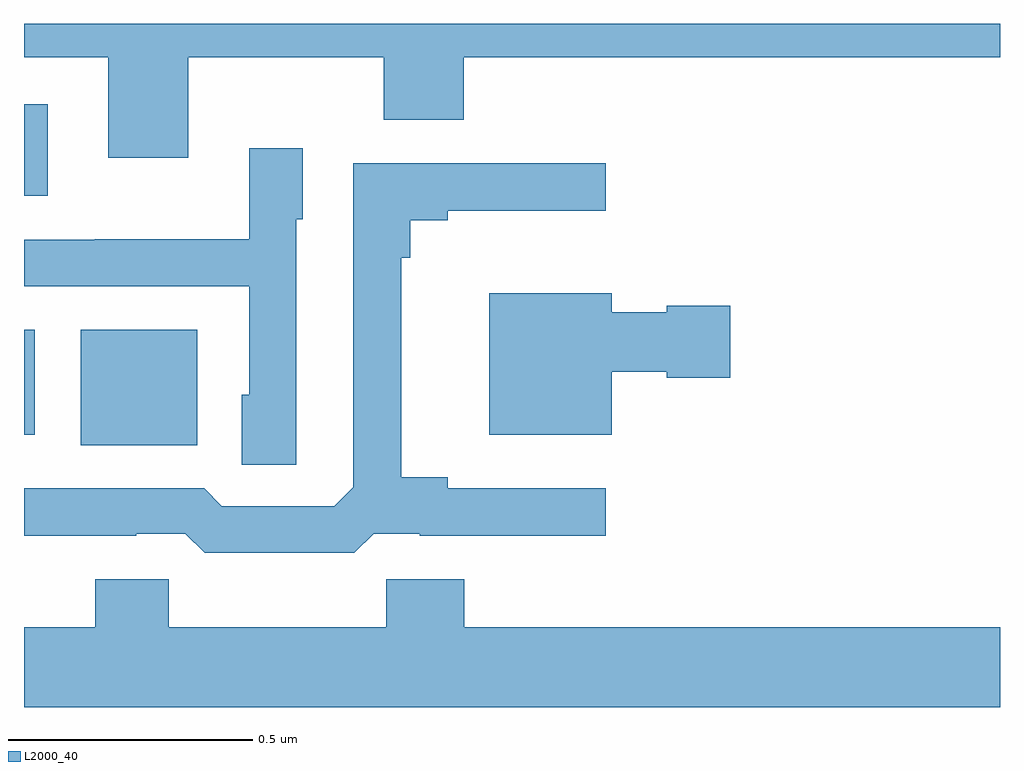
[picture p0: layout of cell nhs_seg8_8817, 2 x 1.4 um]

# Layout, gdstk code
import gdstk
lib = gdstk.Library(unit=1e-6, precision=1e-09)
def R(c, l, rs):  # rectangles x0, y0, x1, y1
    for r in rs: c.add(gdstk.rectangle(r[:2], r[2:], *l))
def P(c, l, *ps):  # polygons
    for p in ps: c.add(gdstk.Polygon(p, *l))
L2000_40 = (2000, 40)

nhs_seg8_8817 = lib.new_cell('nhs_seg8_8817')
R(nhs_seg8_8817, L2000_40, [(228.116,1117.037,228.355,1117.273), (228,1117.058,228.022,1117.273), (228,1117.548,228.049,1117.735)])
P(nhs_seg8_8817, L2000_40, [(228.337,1117.832),(228.737,1117.832),(228.737,1117.704),(228.901,1117.704),(228.901,1117.832),(230,1117.832),(230,1117.9),(228,1117.9),(228,1117.832),(228.173,1117.832),(228.173,1117.626),(228.337,1117.626)],
  [(228.558,1117.5),(228.571,1117.5),(228.571,1117.645),(228.462,1117.645),(228.462,1117.459),(228.145,1117.459),(228.145,1117.458),(228,1117.458),(228,1117.362),(228.462,1117.362),(228.462,1117.14),(228.446,1117.14),(228.446,1116.997),(228.558,1116.997)],
  [(228.717,1116.855),(228.811,1116.855),(228.811,1116.851),(229.192,1116.851),(229.192,1116.948),(228.868,1116.948),(228.868,1116.971),(228.773,1116.971),(228.773,1117.421),(228.791,1117.421),(228.791,1117.498),(228.868,1117.498),(228.868,1117.517),(229.192,1117.517),(229.192,1117.614),(228.675,1117.614),(228.675,1116.951),(228.636,1116.912),(228.405,1116.912),(228.369,1116.948),(228,1116.948),(228,1116.851),(228.23,1116.851),(228.23,1116.855),(228.33,1116.855),(228.37,1116.816),(228.677,1116.816)],
  [(229.204,1117.187),(229.317,1117.187),(229.317,1117.175),(229.447,1117.175),(229.447,1117.322),(229.317,1117.322),(229.317,1117.309),(229.204,1117.309),(229.204,1117.348),(228.953,1117.348),(228.953,1117.058),(229.204,1117.058)],
  [(230,1116.664),(228.902,1116.664),(228.902,1116.762),(228.742,1116.762),(228.742,1116.664),(228.297,1116.664),(228.297,1116.762),(228.146,1116.762),(228.146,1116.664),(228,1116.664),(228,1116.5),(230,1116.5)])

lib.write_gds('nhs_seg8_8817.gds')
